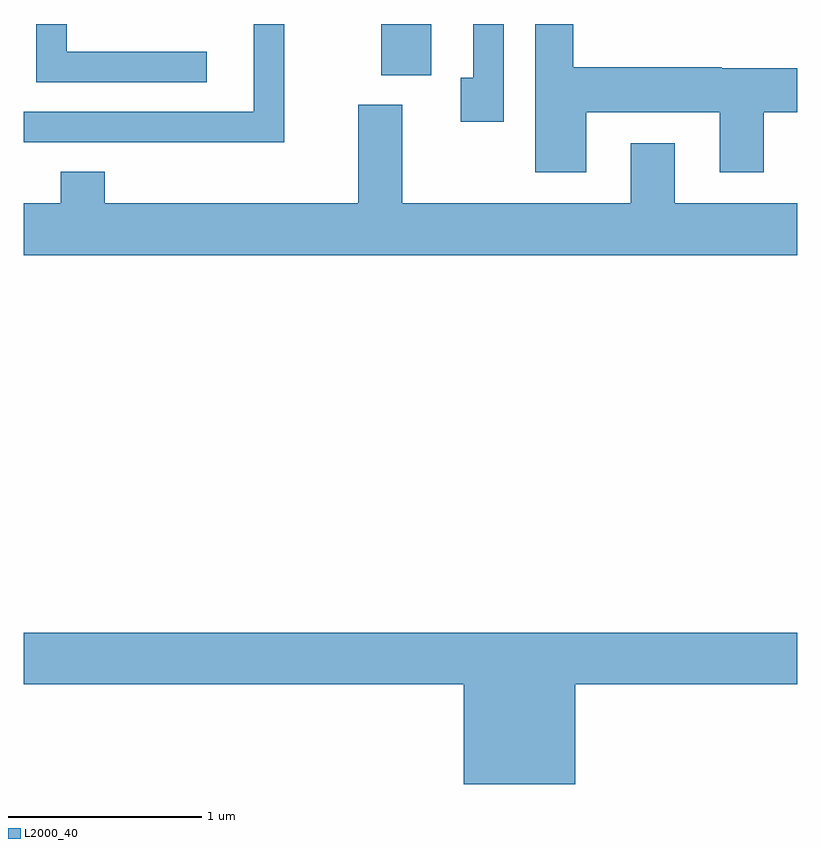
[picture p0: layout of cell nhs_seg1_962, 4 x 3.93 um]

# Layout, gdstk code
import gdstk
lib = gdstk.Library(unit=1e-6, precision=1e-09)
def R(c, l, rs):  # rectangles x0, y0, x1, y1
    for r in rs: c.add(gdstk.rectangle(r[:2], r[2:], *l))
def P(c, l, *ps):  # polygons
    for p in ps: c.add(gdstk.Polygon(p, *l))
L2000_40 = (2000, 40)

nhs_seg1_962 = lib.new_cell('nhs_seg1_962')
R(nhs_seg1_962, L2000_40, [(217.461,849.446,217.719,849.712)])
P(nhs_seg1_962, L2000_40, [(216.959,849.712),(216.801,849.712),(216.801,849.259),(215.611,849.259),(215.611,849.101),(216.959,849.101)],
  [(218.094,849.712),(217.936,849.712),(217.936,849.434),(217.871,849.434),(217.871,849.206),(218.094,849.206)],
  [(216.558,849.569),(215.834,849.569),(215.834,849.712),(215.676,849.712),(215.676,849.411),(216.558,849.411)],
  [(218.519,849.256),(219.211,849.256),(219.211,848.946),(219.439,848.946),(219.439,849.256),(219.611,849.256),(219.611,849.484),(219.22,849.484),(219.22,849.489),(218.454,849.489),(218.454,849.712),(218.256,849.712),(218.256,848.946),(218.519,848.946)],
  [(219.611,848.784),(218.979,848.784),(218.979,849.094),(218.751,849.094),(218.751,848.784),(217.569,848.784),(217.569,849.294),(217.341,849.294),(217.341,848.784),(216.029,848.784),(216.029,848.949),(215.801,848.949),(215.801,848.784),(215.611,848.784),(215.611,848.516),(219.611,848.516)],
  [(218.464,846.296),(219.611,846.296),(219.611,846.564),(215.611,846.564),(215.611,846.296),(217.886,846.296),(217.886,845.781),(218.464,845.781)])

lib.write_gds('nhs_seg1_962.gds')
